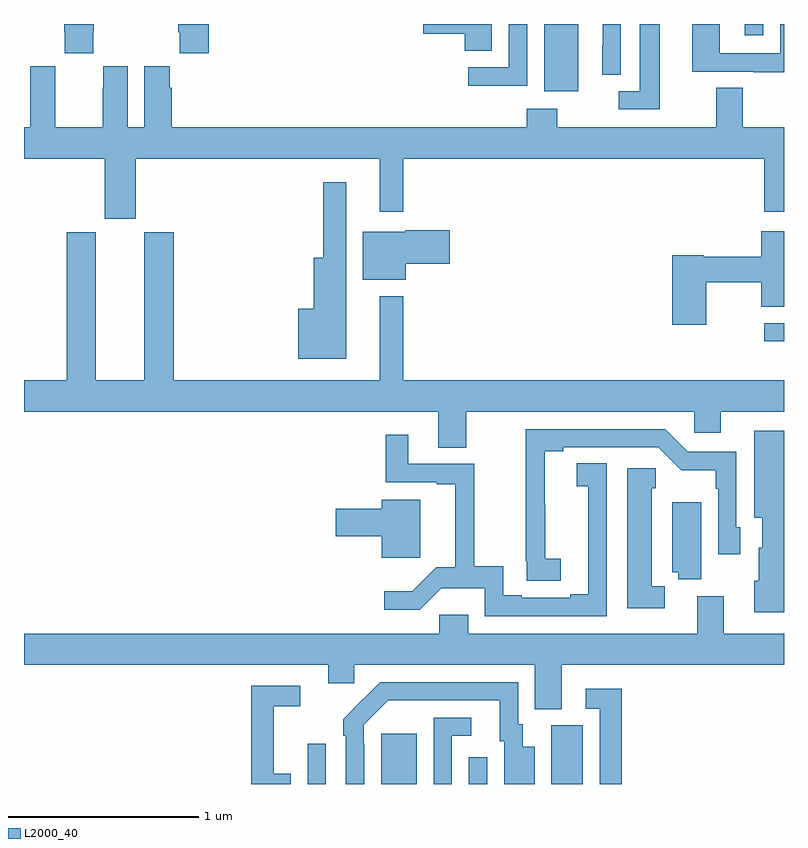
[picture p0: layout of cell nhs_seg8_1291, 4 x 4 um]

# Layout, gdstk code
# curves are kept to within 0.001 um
import gdstk
lib = gdstk.Library(unit=1e-6, precision=1e-09)
def R(c, l, rs):  # rectangles x0, y0, x1, y1
    for r in rs: c.add(gdstk.rectangle(r[:2], r[2:], *l))
def P(c, l, *ps):  # polygons
    for p in ps: c.add(gdstk.Polygon(p, *l))
L2000_40 = (2000, 40)

nhs_seg8_1291 = lib.new_cell('nhs_seg8_1291')
R(nhs_seg8_1291, L2000_40, [(194.493,1087.9,194.589,1088.113), (194.879,1087.9,195.067,1088.164), (195.342,1087.9,195.438,1088.041), (195.776,1087.9,195.94,1088.208), (196.896,1090.229,197,1090.326), (195.737,1091.546,195.916,1091.9), (196.793,1091.841,196.89,1091.9)])
P(nhs_seg8_1291, L2000_40, [(195.463,1091.9),(195.102,1091.9),(195.102,1091.849),(195.32,1091.849),(195.32,1091.758),(195.463,1091.758)],
  [(196.345,1091.9),(196.241,1091.9),(196.241,1091.547),(196.131,1091.547),(196.131,1091.451),(196.345,1091.451)],
  [(193.973,1091.9),(193.813,1091.9),(193.813,1091.857),(193.819,1091.857),(193.819,1091.745),(193.973,1091.745)],
  [(193.365,1091.857),(193.368,1091.857),(193.368,1091.9),(193.213,1091.9),(193.213,1091.857),(193.215,1091.857),(193.215,1091.745),(193.365,1091.745)],
  [(197,1091.9),(196.98,1091.9),(196.98,1091.745),(196.662,1091.745),(196.662,1091.9),(196.517,1091.9),(196.517,1091.649),(196.841,1091.649),(196.841,1091.645),(197,1091.645)],
  [(196.14,1091.9),(196.046,1091.9),(196.046,1091.786),(196.044,1091.786),(196.044,1091.632),(196.14,1091.632)],
  [(195.648,1091.9),(195.552,1091.9),(195.552,1091.673),(195.339,1091.673),(195.339,1091.575),(195.648,1091.575)],
  [(193.588,1091.192),(194.873,1091.192),(194.873,1090.911),(194.995,1090.911),(194.995,1091.192),(196.895,1091.192),(196.895,1090.911),(197,1090.911),(197,1091.356),(196.783,1091.356),(196.783,1091.564),(196.643,1091.564),(196.643,1091.356),(195.807,1091.356),(195.807,1091.455),(195.647,1091.455),(195.647,1091.356),(193.778,1091.356),(193.778,1091.564),(193.768,1091.564),(193.768,1091.677),(193.634,1091.677),(193.634,1091.356),(193.546,1091.356),(193.546,1091.677),(193.416,1091.677),(193.416,1091.564),(193.415,1091.564),(193.415,1091.356),(193.165,1091.356),(193.165,1091.564),(193.164,1091.564),(193.164,1091.677),(193.034,1091.677),(193.034,1091.356),(193,1091.356),(193,1091.192),(193.424,1091.192),(193.424,1090.875),(193.588,1090.875)],
  [(194.695,1091.068),(194.574,1091.068),(194.574,1090.669),(194.525,1090.669),(194.525,1090.402),(194.444,1090.402),(194.444,1090.139),(194.695,1090.139)],
  [(195.01,1090.637),(195.241,1090.637),(195.241,1090.815),(195.006,1090.815),(195.006,1090.807),(194.783,1090.807),(194.783,1090.553),(195.01,1090.553)],
  [(196.59,1090.54),(196.879,1090.54),(196.879,1090.411),(197,1090.411),(197,1090.81),(196.879,1090.81),(196.879,1090.676),(196.578,1090.676),(196.578,1090.684),(196.412,1090.684),(196.412,1090.317),(196.59,1090.317)],
  [(195.327,1089.86),(196.527,1089.86),(196.527,1089.75),(196.666,1089.75),(196.666,1089.86),(197,1089.86),(197,1090.024),(194.995,1090.024),(194.995,1090.468),(194.873,1090.468),(194.873,1090.024),(193.787,1090.024),(193.787,1090.803),(193.634,1090.803),(193.634,1090.024),(193.378,1090.024),(193.378,1090.803),(193.226,1090.803),(193.226,1090.024),(193,1090.024),(193,1089.86),(195.179,1089.86),(195.179,1089.67),(195.327,1089.67)],
  [(195.826,1089.086),(195.744,1089.086),(195.742,1089.652),(195.838,1089.652),(195.838,1089.672),(196.338,1089.672),(196.459,1089.551),(196.641,1089.551),(196.641,1089.455),(196.653,1089.455),(196.653,1089.108),(196.77,1089.108),(196.77,1089.252),(196.749,1089.252),(196.749,1089.648),(196.494,1089.648),(196.374,1089.768),(195.64,1089.768),(195.64,1089.073),(195.646,1089.073),(195.646,1088.971),(195.826,1088.971)],
  [(197,1089.76),(196.844,1089.76),(196.844,1089.302),(196.886,1089.302),(196.886,1089.144),(196.868,1089.144),(196.868,1088.97),(196.844,1088.97),(196.844,1088.804),(197,1088.804)],
  [(196.068,1089.587),(195.909,1089.587),(195.909,1089.467),(195.97,1089.467),(195.971,1088.9),(195.875,1088.9),(195.875,1088.88),(195.619,1088.88),(195.619,1088.894),(195.522,1088.894),(195.522,1089.047),(195.371,1089.047),(195.371,1089.585),(195.022,1089.585),(195.022,1089.739),(194.905,1089.739),(194.905,1089.489),(195.173,1089.489),(195.173,1089.477),(195.269,1089.477),(195.269,1089.04),(195.169,1089.04),(195.043,1088.914),(194.895,1088.914),(194.895,1088.817),(195.084,1088.817),(195.197,1088.93),(195.426,1088.93),(195.426,1088.784),(196.068,1088.784)],
  [(196.372,1088.94),(196.303,1088.94),(196.303,1089.456),(196.325,1089.456),(196.325,1089.562),(196.175,1089.562),(196.175,1088.825),(196.372,1088.825)],
  [(195.085,1089.397),(194.882,1089.397),(194.882,1089.35),(194.64,1089.35),(194.64,1089.203),(194.882,1089.203),(194.882,1089.092),(195.085,1089.092)],
  [(196.564,1089.382),(196.412,1089.382),(196.412,1089.014),(196.444,1089.014),(196.444,1088.977),(196.564,1088.977)],
  [(195.829,1088.528),(197,1088.528),(197,1088.692),(196.684,1088.692),(196.684,1088.887),(196.544,1088.887),(196.544,1088.692),(195.337,1088.692),(195.337,1088.79),(195.186,1088.79),(195.186,1088.692),(193,1088.692),(193,1088.528),(194.6,1088.528),(194.6,1088.43),(194.739,1088.43),(194.739,1088.528),(195.689,1088.528),(195.689,1088.293),(195.829,1088.293)],
  [(194.79,1088.111),(194.787,1088.111),(194.787,1088.211),(194.916,1088.34),(195.503,1088.34),(195.503,1088.124),(195.527,1088.124),(195.527,1087.9),(195.688,1087.9),(195.688,1088.095),(195.625,1088.095),(195.625,1088.214),(195.6,1088.214),(195.6,1088.436),(194.876,1088.436),(194.679,1088.241),(194.679,1088.153),(194.694,1088.153),(194.694,1087.9),(194.79,1087.9)],
  [(194.404,1087.954),(194.315,1087.954),(194.315,1088.31),(194.455,1088.31),(194.455,1088.418),(194.197,1088.418),(194.197,1087.9),(194.404,1087.9)],
  [(196.145,1088.401),(195.957,1088.401),(195.957,1088.295),(196.029,1088.295),(196.029,1087.9),(196.145,1087.9)],
  [(195.252,1088.154),(195.355,1088.154),(195.355,1088.25),(195.156,1088.25),(195.156,1087.9),(195.252,1087.9)])

lib.write_gds('nhs_seg8_1291.gds')
